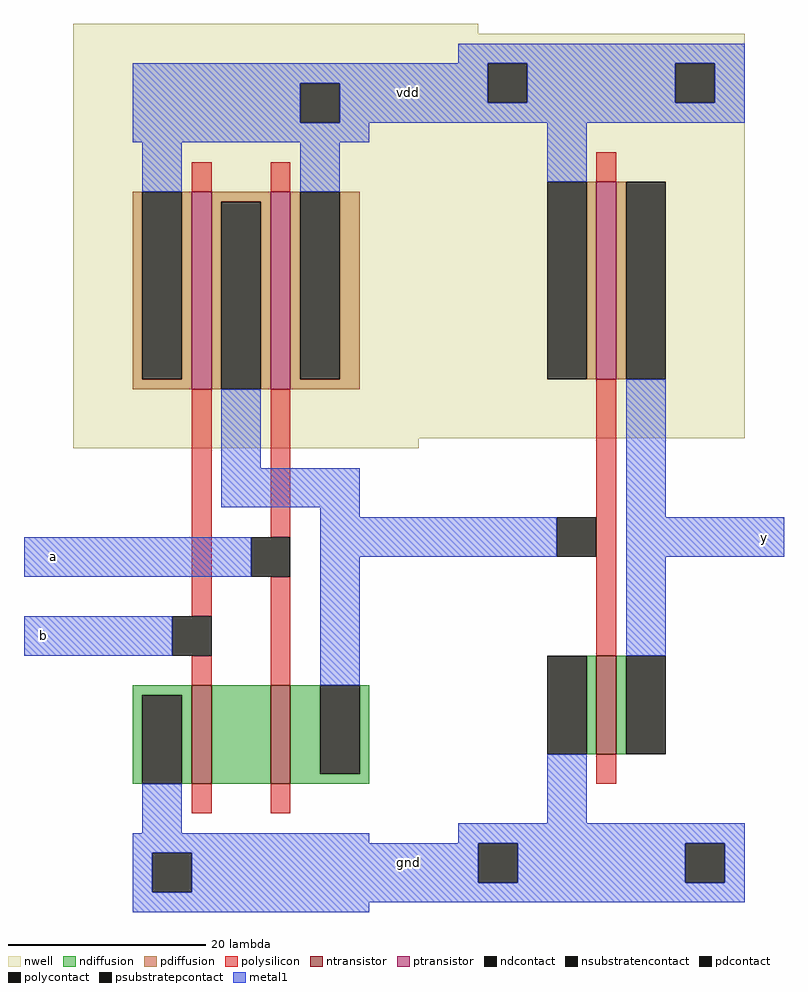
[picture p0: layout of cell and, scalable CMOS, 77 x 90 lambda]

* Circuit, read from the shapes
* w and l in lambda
.subckt and a b gnd vdd y
M1 n1 b gnd gnd nfet w=10 l=2
M2 inverter_0/IN a n1 gnd nfet w=10 l=2
M3 y inverter_0/IN gnd gnd nfet w=10 l=2
M4 inverter_0/IN b vdd vdd pfet w=20 l=2
M5 vdd a inverter_0/IN vdd pfet w=20 l=2
M6 y inverter_0/IN vdd vdd pfet w=20 l=2
.ends

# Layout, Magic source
magic
tech scmos
<< nwell >>
rect -4 47 2 89
<< metal1 >>
rect -9 79 0 85
rect -44 33 -39 37
rect -4 35 0 39
rect 29 35 33 39
rect -44 25 -39 29
rect -9 0 0 6
use nand  nand_0
transform 1 0 -82 0 1 46
box 43 -47 78 43
use inverter  inverter_0
transform 1 0 0 0 1 47
box 0 -47 29 41
<< labels >>
rlabel metal1 -5 82 -5 82 1 vdd
rlabel metal1 31 37 31 37 7 y
rlabel metal1 -41 35 -41 35 3 a
rlabel metal1 -42 27 -42 27 3 b
rlabel metal1 -5 4 -5 4 1 gnd
<< end >>

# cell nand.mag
magic
tech scmos
<< nwell >>
rect 43 0 78 43
<< ntransistor >>
rect 55 -34 57 -24
rect 63 -34 65 -24
<< ptransistor >>
rect 55 6 57 26
rect 63 6 65 26
<< ndiffusion >>
rect 49 -25 55 -24
rect 49 -34 50 -25
rect 54 -34 55 -25
rect 57 -34 63 -24
rect 65 -33 68 -24
rect 72 -33 73 -24
rect 65 -34 73 -33
<< pdiffusion >>
rect 49 7 50 26
rect 54 7 55 26
rect 49 6 55 7
rect 57 25 63 26
rect 57 6 58 25
rect 62 6 63 25
rect 65 7 66 26
rect 70 7 72 26
rect 65 6 72 7
<< ndcontact >>
rect 50 -34 54 -25
rect 68 -33 72 -24
<< pdcontact >>
rect 50 7 54 26
rect 58 6 62 25
rect 66 7 70 26
<< psubstratepcontact >>
rect 51 -45 55 -41
<< nsubstratencontact >>
rect 66 33 70 37
<< polysilicon >>
rect 55 26 57 29
rect 63 26 65 29
rect 55 -17 57 6
rect 63 -9 65 6
rect 55 -24 57 -21
rect 63 -24 65 -13
rect 55 -37 57 -34
rect 63 -37 65 -34
<< polycontact >>
rect 61 -13 65 -9
rect 53 -21 57 -17
<< metal1 >>
rect 49 37 73 39
rect 49 33 66 37
rect 70 33 73 37
rect 49 31 73 33
rect 50 26 54 31
rect 66 26 70 31
rect 58 -2 62 6
rect 58 -6 72 -2
rect 68 -7 72 -6
rect 43 -13 61 -9
rect 68 -11 78 -7
rect 43 -21 53 -17
rect 68 -24 72 -11
rect 50 -39 54 -34
rect 49 -41 73 -39
rect 49 -45 51 -41
rect 55 -45 73 -41
rect 49 -47 73 -45
<< labels >>
rlabel metal1 53 34 53 34 1 vdd
rlabel metal1 61 -43 61 -43 1 gnd
rlabel metal1 48 -11 48 -11 3 a
rlabel metal1 47 -20 47 -20 3 b
rlabel metal1 74 -9 74 -9 7 y
<< end >>

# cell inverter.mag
magic
tech scmos
<< nwell >>
rect 0 0 29 41
<< ntransistor >>
rect 14 -32 16 -22
<< ptransistor >>
rect 14 6 16 26
<< ndiffusion >>
rect 13 -32 14 -22
rect 16 -32 17 -22
<< pdiffusion >>
rect 13 6 14 26
rect 16 6 17 26
<< ndcontact >>
rect 9 -32 13 -22
rect 17 -32 21 -22
<< pdcontact >>
rect 9 6 13 26
rect 17 6 21 26
<< psubstratepcontact >>
rect 2 -45 6 -41
rect 23 -45 27 -41
<< nsubstratencontact >>
rect 3 34 7 38
rect 22 34 26 38
<< polysilicon >>
rect 14 26 16 29
rect 14 -22 16 6
rect 14 -35 16 -32
<< polycontact >>
rect 10 -12 14 -8
<< metal1 >>
rect 0 38 29 40
rect 0 34 3 38
rect 7 34 22 38
rect 26 34 29 38
rect 0 32 29 34
rect 9 26 13 32
rect 17 -8 21 6
rect 0 -12 10 -8
rect 17 -12 29 -8
rect 17 -22 21 -12
rect 9 -39 13 -32
rect 0 -41 29 -39
rect 0 -45 2 -41
rect 6 -45 23 -41
rect 27 -45 29 -41
rect 0 -47 29 -45
<< labels >>
rlabel metal1 5 -10 5 -10 3 IN
rlabel metal1 9 36 9 36 5 Vdd
rlabel metal1 9 -43 9 -43 1 gnd
rlabel metal1 25 -10 25 -10 7 OUT
<< end >>
